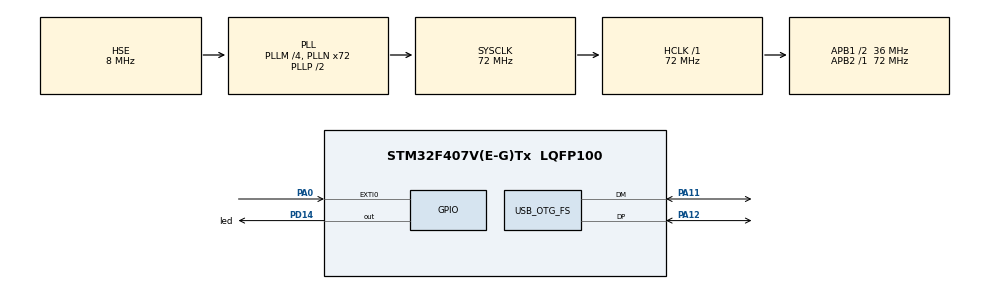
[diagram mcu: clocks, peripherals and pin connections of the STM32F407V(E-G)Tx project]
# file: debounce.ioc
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Mcu.Family=STM32F4
Mcu.Name=STM32F407V(E-G)Tx
Mcu.Package=LQFP100
NVIC.EXTI0_IRQn=true\:0\:0\:false\:false\:true\:true\:true\:true
NVIC.OTG_FS_IRQn=true\:0\:0\:false\:false\:true\:false\:true\:true
NVIC.PriorityGroup=NVIC_PRIORITYGROUP_0
NVIC.TIM6_DAC_IRQn=true\:0\:0\:false\:false\:true\:true\:true\:true
PA0-WKUP.Signal=GPXTI0
PA11.Mode=Device_Only
PA11.Signal=USB_OTG_FS_DM
PA12.Mode=Device_Only
PA12.Signal=USB_OTG_FS_DP
PA13.Mode=Trace_Asynchronous_SW
PA13.Signal=SYS_JTMS-SWDIO
PA14.Mode=Trace_Asynchronous_SW
PA14.Signal=SYS_JTCK-SWCLK
PB3.Mode=Trace_Asynchronous_SW
PB3.Signal=SYS_JTDO-SWO
PD14.GPIO_Label=led
PD14.Signal=GPIO_Output
PH0-OSC_IN.Mode=HSE-External-Oscillator
PH0-OSC_IN.Signal=RCC_OSC_IN
PH1-OSC_OUT.Mode=HSE-External-Oscillator
PH1-OSC_OUT.Signal=RCC_OSC_OUT
ProjectManager.HeapSize=0x200
ProjectManager.StackSize=0x400
ProjectManager.TargetToolchain=STM32CubeIDE
RCC.48MHZClocksFreq_Value=48000000
RCC.AHBFreq_Value=72000000
RCC.APB1CLKDivider=RCC_HCLK_DIV2
RCC.APB1Freq_Value=36000000
RCC.APB1TimFreq_Value=72000000
RCC.APB2Freq_Value=72000000
RCC.APB2TimFreq_Value=72000000
RCC.CortexFreq_Value=72000000
RCC.HCLKFreq_Value=72000000
RCC.HSE_VALUE=8000000
RCC.HSI_VALUE=16000000
RCC.LSE_VALUE=32768
RCC.PLLM=4
RCC.PLLN=72
RCC.PLLQ=3
RCC.SYSCLKFreq_VALUE=72000000
RCC.SYSCLKSource=RCC_SYSCLKSOURCE_PLLCLK
RCC.VCOOutputFreq_Value=144000000
TIM6.Period=65000-1
TIM6.Prescaler=84-1
USB_DEVICE.CLASS_NAME_FS=CDC
USB_DEVICE.VirtualMode-CDC_FS=Cdc
USB_DEVICE.VirtualModeFS=Cdc_FS
USB_OTG_FS.VirtualMode=Device_Only
VP_TIM6_VS_ClockSourceINT.Mode=Enable_Timer
VP_USB_DEVICE_VS_USB_DEVICE_CDC_FS.Mode=CDC_FS
board=STM32F407G-DISC1

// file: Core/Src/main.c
/* USER CODE BEGIN Header */
/**
  ******************************************************************************
  * @file           : main.c
  * @brief          : Main program body
  ******************************************************************************
  * @attention
  *
  * Copyright (c) 2023 STMicroelectronics.
  * All rights reserved.
  *
  * This software is licensed under terms that can be found in the LICENSE file
  * in the root directory of this software component.
  * If no LICENSE file comes with this software, it is provided AS-IS.
  *
  ******************************************************************************
  */
/* USER CODE END Header */
#include "main.h"
#include "usb_device.h"

/* USER CODE BEGIN Includes */
#include "usbd_cdc_if.h"
#include "string.h"
int count=0;

uint8_t recievebuffer[64];

int flag=0;
/* USER CODE END Includes */

TIM_HandleTypeDef htim6;

void SystemClock_Config(void);
static void MX_GPIO_Init(void);
static void MX_TIM6_Init(void);

int main(void)
{

  /* MCU Configuration--------------------------------------------------------*/

  /* Reset of all peripherals, Initializes the Flash interface and the Systick. */
  HAL_Init();

  /* Configure the system clock */
  SystemClock_Config();

  /* Initialize all configured peripherals */
  MX_GPIO_Init();
  MX_TIM6_Init();
  MX_USB_DEVICE_Init();
  /* USER CODE BEGIN 2 */
	CDC_Transmit_FS("Hello", 6);
  /* USER CODE END 2 */

  /* Infinite loop */
  /* USER CODE BEGIN WHILE */
  while (1)
  {
	  char buffer[50];
	  char* s = "geeksforgeeks";
	  float val=5.0;
	     // Counting the character and storing
	     // in buffer using snprintf

	     int j = snprintf(buffer, 50, "%s %f\n", s,val);
	  CDC_Transmit_FS(buffer, strlen(buffer));
	  HAL_Delay(500);
	  if (flag)
	  	{
	  		flag=0;
	  		HAL_GPIO_TogglePin(led_GPIO_Port,led_Pin);

	  	}
   HAL_Delay(500);
    /* USER CODE END WHILE */

  }
}

void SystemClock_Config(void)
{
  RCC_OscInitTypeDef RCC_OscInitStruct = {0};
  RCC_ClkInitTypeDef RCC_ClkInitStruct = {0};

  /** Configure the main internal regulator output voltage
  */
  __HAL_RCC_PWR_CLK_ENABLE();
  __HAL_PWR_VOLTAGESCALING_CONFIG(PWR_REGULATOR_VOLTAGE_SCALE1);

  /** Initializes the RCC Oscillators according to the specified parameters
  * in the RCC_OscInitTypeDef structure.
  */
  RCC_OscInitStruct.OscillatorType = RCC_OSCILLATORTYPE_HSE;
  RCC_OscInitStruct.HSEState = RCC_HSE_ON;
  RCC_OscInitStruct.PLL.PLLState = RCC_PLL_ON;
  RCC_OscInitStruct.PLL.PLLSource = RCC_PLLSOURCE_HSE;
  RCC_OscInitStruct.PLL.PLLM = 4;
  RCC_OscInitStruct.PLL.PLLN = 72;
  RCC_OscInitStruct.PLL.PLLP = RCC_PLLP_DIV2;
  RCC_OscInitStruct.PLL.PLLQ = 3;
  if (HAL_RCC_OscConfig(&RCC_OscInitStruct) != HAL_OK)
  {
    Error_Handler();
  }

  /** Initializes the CPU, AHB and APB buses clocks
  */
  RCC_ClkInitStruct.ClockType = RCC_CLOCKTYPE_HCLK|RCC_CLOCKTYPE_SYSCLK
                              |RCC_CLOCKTYPE_PCLK1|RCC_CLOCKTYPE_PCLK2;
  RCC_ClkInitStruct.SYSCLKSource = RCC_SYSCLKSOURCE_PLLCLK;
  RCC_ClkInitStruct.AHBCLKDivider = RCC_SYSCLK_DIV1;
  RCC_ClkInitStruct.APB1CLKDivider = RCC_HCLK_DIV2;
  RCC_ClkInitStruct.APB2CLKDivider = RCC_HCLK_DIV1;

  if (HAL_RCC_ClockConfig(&RCC_ClkInitStruct, FLASH_LATENCY_2) != HAL_OK)
  {
    Error_Handler();
  }
}

static void MX_TIM6_Init(void)
{

  TIM_MasterConfigTypeDef sMasterConfig = {0};

  htim6.Instance = TIM6;
  htim6.Init.Prescaler = 84-1;
  htim6.Init.CounterMode = TIM_COUNTERMODE_UP;
  htim6.Init.Period = 65000-1;
  htim6.Init.AutoReloadPreload = TIM_AUTORELOAD_PRELOAD_DISABLE;
  if (HAL_TIM_Base_Init(&htim6) != HAL_OK)
  {
    Error_Handler();
  }
  sMasterConfig.MasterOutputTrigger = TIM_TRGO_RESET;
  sMasterConfig.MasterSlaveMode = TIM_MASTERSLAVEMODE_DISABLE;
  if (HAL_TIMEx_MasterConfigSynchronization(&htim6, &sMasterConfig) != HAL_OK)
  {
    Error_Handler();
  }

}

static void MX_GPIO_Init(void)
{
  GPIO_InitTypeDef GPIO_InitStruct = {0};

  /* GPIO Ports Clock Enable */
  __HAL_RCC_GPIOH_CLK_ENABLE();
  __HAL_RCC_GPIOA_CLK_ENABLE();
  __HAL_RCC_GPIOD_CLK_ENABLE();
  __HAL_RCC_GPIOB_CLK_ENABLE();

  /*Configure GPIO pin Output Level */
  HAL_GPIO_WritePin(led_GPIO_Port, led_Pin, GPIO_PIN_RESET);

  /*Configure GPIO pin : PA0 */
  GPIO_InitStruct.Pin = GPIO_PIN_0;
  GPIO_InitStruct.Mode = GPIO_MODE_IT_RISING;
  GPIO_InitStruct.Pull = GPIO_NOPULL;
  HAL_GPIO_Init(GPIOA, &GPIO_InitStruct);

  /*Configure GPIO pin : led_Pin */
  GPIO_InitStruct.Pin = led_Pin;
  GPIO_InitStruct.Mode = GPIO_MODE_OUTPUT_PP;
  GPIO_InitStruct.Pull = GPIO_NOPULL;
  GPIO_InitStruct.Speed = GPIO_SPEED_FREQ_LOW;
  HAL_GPIO_Init(led_GPIO_Port, &GPIO_InitStruct);

  /* EXTI interrupt init*/
  HAL_NVIC_SetPriority(EXTI0_IRQn, 0, 0);
  HAL_NVIC_EnableIRQ(EXTI0_IRQn);

}

/* USER CODE BEGIN 4 */
void HAL_GPIO_EXTI_Callback(uint16_t GPIO_Pin)
{
	count++;
	HAL_NVIC_DisableIRQ(EXTI0_IRQn);
	HAL_TIM_Base_Start_IT(&htim6);

}
void HAL_TIM_PeriodElapsedCallback(TIM_HandleTypeDef *htim)
{
	HAL_NVIC_EnableIRQ(EXTI0_IRQn);
	HAL_TIM_Base_Stop_IT(&htim6);
}
/* USER CODE END 4 */

void Error_Handler(void)
{
  __disable_irq();
  while (1)
  {
  }
}
